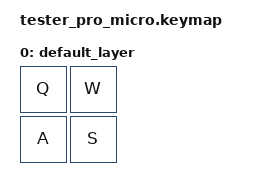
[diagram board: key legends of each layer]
/ {
    keymap {
        compatible = "zmk,keymap";

        default_layer {
            bindings = <
                &kp Q    &kp W
                &kp A    &kp S
            >;
        };
    };
};
